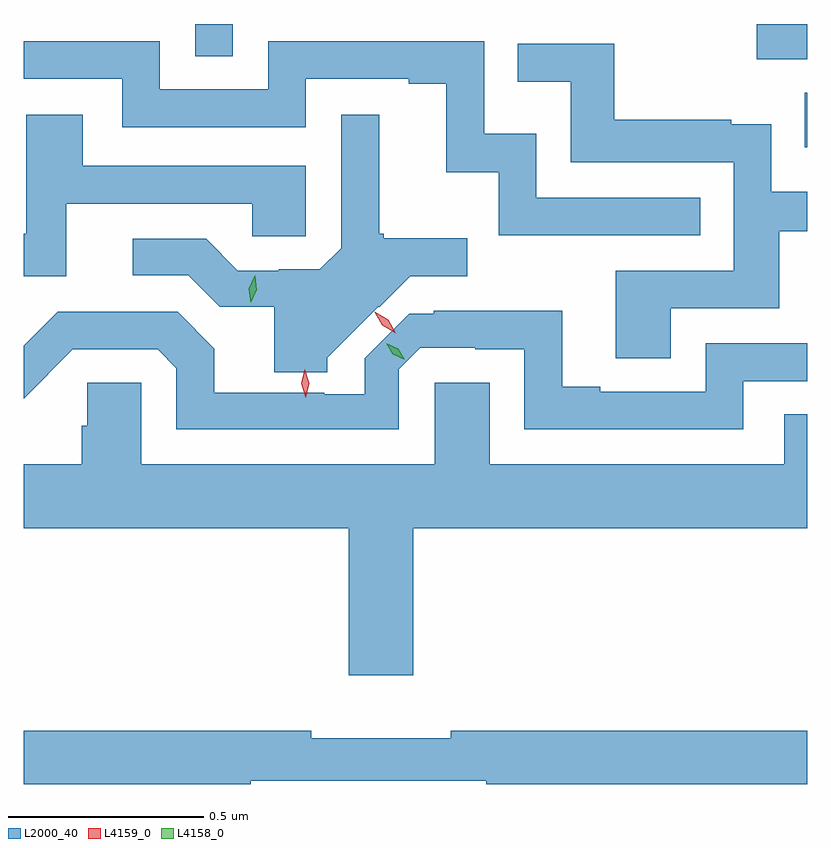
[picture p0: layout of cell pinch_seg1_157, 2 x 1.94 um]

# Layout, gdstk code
import gdstk
lib = gdstk.Library(unit=1e-6, precision=1e-09)
def R(c, l, rs):  # rectangles x0, y0, x1, y1
    for r in rs: c.add(gdstk.rectangle(r[:2], r[2:], *l))
def P(c, l, *ps):  # polygons
    for p in ps: c.add(gdstk.Polygon(p, *l))
L2000_40 = (2000, 40)
L4158_0 = (4158, 0)
L4159_0 = (4159, 0)

pinch_seg1_157 = lib.new_cell('pinch_seg1_157')
R(pinch_seg1_157, L2000_40, [(1089.247,555.368,1089.254,555.508), (1089.124,555.593,1089.254,555.683), (1087.692,555.601,1087.788,555.683)])
P(pinch_seg1_157, L2000_40, [(1088.981,555.24),(1088.562,555.24),(1088.562,555.403),(1088.43,555.403),(1088.43,555.639),(1087.878,555.639),(1087.878,555.516),(1087.602,555.516),(1087.602,555.639),(1087.254,555.639),(1087.254,555.543),(1087.506,555.543),(1087.506,555.42),(1087.974,555.42),(1087.974,555.543),(1088.237,555.543),(1088.237,555.531),(1088.333,555.531),(1088.333,555.305),(1088.466,555.305),(1088.466,555.144),(1088.981,555.144)],
  [(1088.905,554.958),(1089.182,554.958),(1089.182,555.154),(1089.254,555.154),(1089.254,555.255),(1089.162,555.255),(1089.162,555.427),(1089.059,555.427),(1089.059,555.439),(1088.761,555.439),(1088.761,555.633),(1088.515,555.633),(1088.515,555.536),(1088.65,555.536),(1088.65,555.33),(1089.066,555.33),(1089.066,555.054),(1088.765,555.054),(1088.765,554.83),(1088.905,554.83)],
  [(1088.029,554.832),(1088.159,554.962),(1088.162,554.96),(1088.241,555.039),(1088.386,555.039),(1088.386,555.136),(1088.173,555.136),(1088.173,555.148),(1088.161,555.148),(1088.161,555.451),(1088.064,555.451),(1088.064,555.111),(1088.01,555.057),(1087.905,555.057),(1087.905,555.054),(1087.801,555.054),(1087.72,555.135),(1087.533,555.135),(1087.533,555.042),(1087.674,555.042),(1087.754,554.962),(1087.893,554.962),(1087.893,554.794),(1088.029,554.794)],
  [(1087.363,555.225),(1087.837,555.225),(1087.837,555.142),(1087.974,555.142),(1087.974,555.321),(1087.405,555.321),(1087.405,555.451),(1087.261,555.451),(1087.261,555.148),(1087.254,555.148),(1087.254,555.039),(1087.363,555.039)],
  [(1088.211,554.802),(1088.266,554.857),(1088.407,554.857),(1088.407,554.853),(1088.532,554.853),(1088.532,554.649),(1089.09,554.649),(1089.09,554.772),(1089.254,554.772),(1089.254,554.868),(1088.994,554.868),(1088.994,554.745),(1088.725,554.745),(1088.725,554.758),(1088.629,554.758),(1088.629,554.951),(1088.301,554.951),(1088.301,554.944),(1088.238,554.944),(1088.124,554.83),(1088.124,554.738),(1088.021,554.738),(1088.021,554.742),(1087.741,554.742),(1087.741,554.855),(1087.647,554.949),(1087.341,554.949),(1087.254,554.862),(1087.254,554.727),(1087.38,554.853),(1087.596,554.853),(1087.644,554.805),(1087.644,554.649),(1088.211,554.649)],
  [(1088.248,554.396),(1089.254,554.396),(1089.254,554.687),(1089.195,554.687),(1089.195,554.56),(1088.443,554.56),(1088.443,554.768),(1088.303,554.768),(1088.303,554.56),(1087.554,554.56),(1087.554,554.768),(1087.417,554.768),(1087.417,554.658),(1087.403,554.658),(1087.403,554.56),(1087.254,554.56),(1087.254,554.396),(1088.084,554.396),(1088.084,554.022),(1088.248,554.022)],
  [(1087.834,553.752),(1088.434,553.752),(1088.434,553.744),(1089.254,553.744),(1089.254,553.88),(1088.344,553.88),(1088.344,553.861),(1087.988,553.861),(1087.988,553.88),(1087.254,553.88),(1087.254,553.744),(1087.834,553.744)])
P(pinch_seg1_157, L4158_0, [(1087.834,554.972),(1087.834,554.972),(1087.829,555.008),(1087.844,555.041),(1087.844,555.041),(1087.845,555.041),(1087.849,555.005),(1087.834,554.972)],
  [(1088.227,554.827),(1088.196,554.84),(1088.179,554.868),(1088.179,554.868),(1088.179,554.868),(1088.21,554.855),(1088.227,554.827),(1088.227,554.827)])
P(pinch_seg1_157, L4159_0, [(1088.203,554.894),(1088.169,554.914),(1088.15,554.948),(1088.15,554.949),(1088.15,554.949),(1088.184,554.928),(1088.204,554.894),(1088.204,554.894)],
  [(1087.974,554.73),(1087.974,554.73),(1087.963,554.766),(1087.972,554.802),(1087.972,554.802),(1087.972,554.802),(1087.983,554.766),(1087.974,554.73)])

lib.write_gds('pinch_seg1_157.gds')
